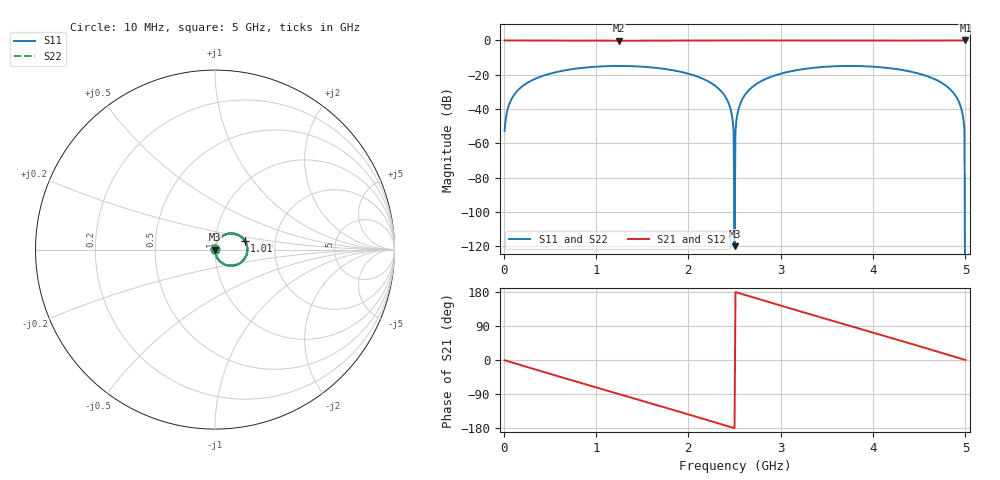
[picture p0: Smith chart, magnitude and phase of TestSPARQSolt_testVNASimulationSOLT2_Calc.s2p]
# MHz MA S R 50.0
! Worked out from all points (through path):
!   500 points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, 10 MHz to 5 GHz, reference 50 ohm
!   highest |S21| = 0.00 dB at 5 GHz (marker M1); lowest = -0.1 dB at 1.25 GHz (marker M2)
!   group delay of S21, straight-line fit = 200 ps
!   lowest |S11| = -120.0 dB at 2.5 GHz (marker M3), VSWR 1.00, Z = 50 + j0 ohm
!   |S11| at or under -10 dB: start of sweep to end of sweep
!   |S22| runs from - to -14.9 dB; largest |S21 - S12| = 0
!   S11 on the Smith chart (normalised r, x): 10 MHz: 1.00, +0.00; 1.01 GHz: 1.39, +0.14; 5 GHz: 1.00, +0.00
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10  0.002304 89.3  1 -0.7  1 -0.7  0.002304 89.3
80  0.0184 84.1  0.9998 -5.9  0.9998 -5.9  0.0184 84.1
210  0.04777 74.6  0.9989 -15.4  0.9989 -15.4  0.04777 74.6
850  0.1586 28.4  0.9873 -61.6  0.9873 -61.6  0.1586 28.4
1010  0.1724 17.0  0.985 -73.0  0.985 -73.0  0.1724 17.0
1250  0.1803 0.0  0.9836 -90.0  0.9836 -90.0  0.1803 0.0
1680  0.1553 -30.5  0.9879 -120.5  0.9879 -120.5  0.1553 -30.5
2320  0.04108 -76.8  0.9992 -166.8  0.9992 -166.8  0.04108 -76.8
2440  0.01381 -85.6  0.9999 -175.6  0.9999 -175.6  0.01381 -85.6
2480  0.004607 -88.5  1 -178.5  1 -178.5  0.004607 -88.5
2500  1e-06 -0.0  1 -180.0  1 -180.0  1e-06 -0.0
2510  0.002304 89.2  1 179.3  1 179.3  0.002304 89.2
2530  0.006909 87.8  1 177.8  1 177.8  0.006909 87.8
2560  0.01381 85.6  0.9999 175.6  0.9999 175.6  0.01381 85.6
2680  0.04108 76.8  0.9992 166.8  0.9992 166.8  0.04108 76.8
3340  0.1575 29.1  0.9875 119.1  0.9875 119.1  0.1575 29.1
4170  0.1564 -29.8  0.9877 60.2  0.9877 60.2  0.1564 -29.8
4600  0.08798 -60.8  0.9961 29.2  0.9961 29.2  0.08798 -60.8
4860  0.03207 -79.8  0.9995 10.2  0.9995 10.2  0.03207 -79.8
4960  0.009211 -87.1  1 2.9  1 2.9  0.009211 -87.1
4970  0.00691 -87.8  1 2.2  1 2.2  0.00691 -87.8
5000  0 -86.5  1 0.0  1 0.0  0 -93.5
